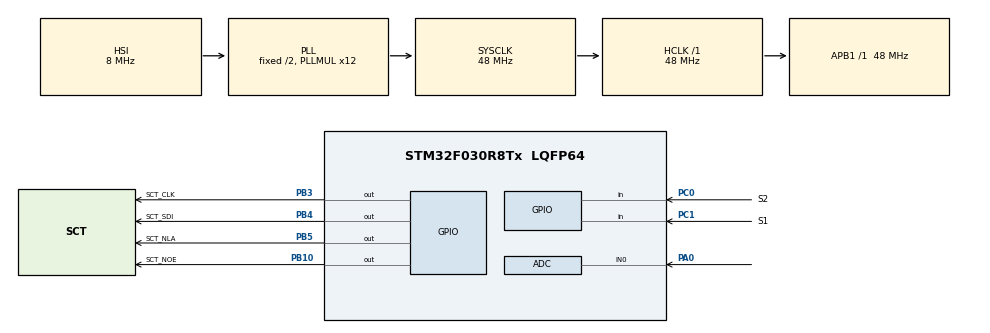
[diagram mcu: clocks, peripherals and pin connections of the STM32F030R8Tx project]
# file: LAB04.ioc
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ADC.ContinuousConvMode=ENABLE
ADC.Overrun=ADC_OVR_DATA_OVERWRITTEN
ADC.SamplingTime=ADC_SAMPLETIME_239CYCLES_5
Mcu.Family=STM32F0
Mcu.Name=STM32F030R8Tx
Mcu.Package=LQFP64
NVIC.ADC1_IRQn=true\:0\:0\:false\:false\:true\:true\:true\:true
PA0.Mode=IN0
PA0.Signal=ADC_IN0
PB10.GPIO_Label=SCT_NOE
PB10.Signal=GPIO_Output
PB3.GPIO_Label=SCT_CLK
PB3.Signal=GPIO_Output
PB4.GPIO_Label=SCT_SDI
PB4.Signal=GPIO_Output
PB5.GPIO_Label=SCT_NLA
PB5.Signal=GPIO_Output
PC0.GPIO_Label=S2
PC0.GPIO_PuPd=GPIO_PULLUP
PC0.Signal=GPIO_Input
PC1.GPIO_Label=S1
PC1.GPIO_PuPd=GPIO_PULLUP
PC1.Signal=GPIO_Input
ProjectManager.HeapSize=0x200
ProjectManager.StackSize=0x400
ProjectManager.TargetToolchain=STM32CubeIDE
RCC.AHBFreq_Value=48000000
RCC.APB1Freq_Value=48000000
RCC.APB1TimFreq_Value=48000000
RCC.HCLKFreq_Value=48000000
RCC.PLLMUL=RCC_PLL_MUL12
RCC.SYSCLKFreq_VALUE=48000000
RCC.SYSCLKSource=RCC_SYSCLKSOURCE_PLLCLK
VP_ADC_TempSens_Input.Mode=IN-TempSens
VP_ADC_Vref_Input.Mode=IN-Vrefint
board=custom

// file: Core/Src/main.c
/* USER CODE BEGIN Header */
/**
 ******************************************************************************
 * @file           : main.c
 * @brief          : Main program body
 ******************************************************************************
 * @attention
 *
 * Copyright (c) 2025 STMicroelectronics.
 * All rights reserved.
 *
 * This software is licensed under terms that can be found in the LICENSE file
 * in the root directory of this software component.
 * If no LICENSE file comes with this software, it is provided AS-IS.
 *
 ******************************************************************************
 */
/* USER CODE END Header */
#include "main.h"

/* USER CODE BEGIN Includes */
#include "sct.h"
/* USER CODE END Includes */

/* USER CODE BEGIN PD */
#define ADC_Q 12

/* Temperature sensor calibration value address */
#define TEMP110_CAL_ADDR ((uint16_t*) ((uint32_t) 0x1FFFF7C2))
#define TEMP30_CAL_ADDR  ((uint16_t*) ((uint32_t) 0x1FFFF7B8))

/* Internal voltage reference calibration value address */
#define VREFINT_CAL_ADDR ((uint16_t*) ((uint32_t) 0x1FFFF7BA))

#define SWITCH_DELAY 1000	// in ms

/* USER CODE END PD */

ADC_HandleTypeDef hadc;

/* USER CODE BEGIN PV */
static volatile uint32_t raw_pot, raw_temp, raw_volt;
static enum { SHOW_POT, SHOW_VOLT, SHOW_TEMP } state = SHOW_POT;
/* USER CODE END PV */

void SystemClock_Config(void);
static void MX_GPIO_Init(void);
static void MX_ADC_Init(void);

/* USER CODE BEGIN 0 */

void button(void) {
	static uint32_t lastTime;

	if (!HAL_GPIO_ReadPin(S1_GPIO_Port, S1_Pin)) {
		state = SHOW_VOLT;
		lastTime = HAL_GetTick();
	}

	if (!HAL_GPIO_ReadPin(S2_GPIO_Port, S2_Pin)) {
		state = SHOW_TEMP;
		lastTime = HAL_GetTick();
	}

	if ((lastTime + SWITCH_DELAY) < HAL_GetTick()) {
		state = SHOW_POT;
	}

}

/* USER CODE END 0 */

int main(void) {

	/* MCU Configuration--------------------------------------------------------*/

	/* Reset of all peripherals, Initializes the Flash interface and the Systick. */
	HAL_Init();

	/* Configure the system clock */
	SystemClock_Config();

	/* Initialize all configured peripherals */
	MX_GPIO_Init();
	MX_ADC_Init();
	/* USER CODE BEGIN 2 */
	sct_init();

	HAL_ADCEx_Calibration_Start(&hadc);
	HAL_ADC_Start_IT(&hadc);
	/* USER CODE END 2 */

	/* Infinite loop */
	while (1) {

		/* USER CODE BEGIN 3 */

		button();

		switch (state) {
		case SHOW_POT:
			sct_value((raw_pot * 501) / 4096, (raw_pot * 9) / 4096); // Get and show value from encoder on display
			HAL_Delay(50);
			break;

		case SHOW_TEMP:
			int32_t temperature = (raw_temp - (int32_t) (*TEMP30_CAL_ADDR));
			temperature = temperature * (int32_t) (110 - 30);
			temperature = temperature
					/ (int32_t) (*TEMP110_CAL_ADDR - *TEMP30_CAL_ADDR);
			temperature = temperature + 30;

			sct_value(temperature, (raw_pot * 9) / 4096);
			HAL_Delay(50);
			break;

		case SHOW_VOLT:
			uint32_t voltage = 330 * (*VREFINT_CAL_ADDR) / raw_volt;

			sct_value(voltage, (raw_pot * 9) / 4096);
			HAL_Delay(50);
			break;
		}
	}
	/* USER CODE END 3 */
}

void SystemClock_Config(void) {
	RCC_OscInitTypeDef RCC_OscInitStruct = { 0 };
	RCC_ClkInitTypeDef RCC_ClkInitStruct = { 0 };

	/** Initializes the RCC Oscillators according to the specified parameters
	 * in the RCC_OscInitTypeDef structure.
	 */
	RCC_OscInitStruct.OscillatorType = RCC_OSCILLATORTYPE_HSI
			| RCC_OSCILLATORTYPE_HSI14;
	RCC_OscInitStruct.HSIState = RCC_HSI_ON;
	RCC_OscInitStruct.HSI14State = RCC_HSI14_ON;
	RCC_OscInitStruct.HSICalibrationValue = RCC_HSICALIBRATION_DEFAULT;
	RCC_OscInitStruct.HSI14CalibrationValue = 16;
	RCC_OscInitStruct.PLL.PLLState = RCC_PLL_ON;
	RCC_OscInitStruct.PLL.PLLSource = RCC_PLLSOURCE_HSI;
	RCC_OscInitStruct.PLL.PLLMUL = RCC_PLL_MUL12;
	RCC_OscInitStruct.PLL.PREDIV = RCC_PREDIV_DIV1;
	if (HAL_RCC_OscConfig(&RCC_OscInitStruct) != HAL_OK) {
		Error_Handler();
	}

	/** Initializes the CPU, AHB and APB buses clocks
	 */
	RCC_ClkInitStruct.ClockType = RCC_CLOCKTYPE_HCLK | RCC_CLOCKTYPE_SYSCLK
			| RCC_CLOCKTYPE_PCLK1;
	RCC_ClkInitStruct.SYSCLKSource = RCC_SYSCLKSOURCE_PLLCLK;
	RCC_ClkInitStruct.AHBCLKDivider = RCC_SYSCLK_DIV1;
	RCC_ClkInitStruct.APB1CLKDivider = RCC_HCLK_DIV1;

	if (HAL_RCC_ClockConfig(&RCC_ClkInitStruct, FLASH_LATENCY_1) != HAL_OK) {
		Error_Handler();
	}
}

static void MX_ADC_Init(void) {

	ADC_ChannelConfTypeDef sConfig = { 0 };

	/** Configure the global features of the ADC (Clock, Resolution, Data Alignment and number of conversion)
	 */
	hadc.Instance = ADC1;
	hadc.Init.ClockPrescaler = ADC_CLOCK_ASYNC_DIV1;
	hadc.Init.Resolution = ADC_RESOLUTION_12B;
	hadc.Init.DataAlign = ADC_DATAALIGN_RIGHT;
	hadc.Init.ScanConvMode = ADC_SCAN_DIRECTION_FORWARD;
	hadc.Init.EOCSelection = ADC_EOC_SINGLE_CONV;
	hadc.Init.LowPowerAutoWait = DISABLE;
	hadc.Init.LowPowerAutoPowerOff = DISABLE;
	hadc.Init.ContinuousConvMode = ENABLE;
	hadc.Init.DiscontinuousConvMode = DISABLE;
	hadc.Init.ExternalTrigConv = ADC_SOFTWARE_START;
	hadc.Init.ExternalTrigConvEdge = ADC_EXTERNALTRIGCONVEDGE_NONE;
	hadc.Init.DMAContinuousRequests = DISABLE;
	hadc.Init.Overrun = ADC_OVR_DATA_OVERWRITTEN;
	if (HAL_ADC_Init(&hadc) != HAL_OK) {
		Error_Handler();
	}

	/** Configure for the selected ADC regular channel to be converted.
	 */
	sConfig.Channel = ADC_CHANNEL_0;
	sConfig.Rank = ADC_RANK_CHANNEL_NUMBER;
	sConfig.SamplingTime = ADC_SAMPLETIME_239CYCLES_5;
	if (HAL_ADC_ConfigChannel(&hadc, &sConfig) != HAL_OK) {
		Error_Handler();
	}

	/** Configure for the selected ADC regular channel to be converted.
	 */
	sConfig.Channel = ADC_CHANNEL_TEMPSENSOR;
	if (HAL_ADC_ConfigChannel(&hadc, &sConfig) != HAL_OK) {
		Error_Handler();
	}

	/** Configure for the selected ADC regular channel to be converted.
	 */
	sConfig.Channel = ADC_CHANNEL_VREFINT;
	if (HAL_ADC_ConfigChannel(&hadc, &sConfig) != HAL_OK) {
		Error_Handler();
	}

}

static void MX_GPIO_Init(void) {
	GPIO_InitTypeDef GPIO_InitStruct = { 0 };

	/* GPIO Ports Clock Enable */
	__HAL_RCC_GPIOC_CLK_ENABLE();
	__HAL_RCC_GPIOA_CLK_ENABLE();
	__HAL_RCC_GPIOB_CLK_ENABLE();

	/*Configure GPIO pin Output Level */
	HAL_GPIO_WritePin(GPIOB,
			SCT_NOE_Pin | SCT_CLK_Pin | SCT_SDI_Pin | SCT_NLA_Pin,
			GPIO_PIN_RESET);

	/*Configure GPIO pins : S2_Pin S1_Pin */
	GPIO_InitStruct.Pin = S2_Pin | S1_Pin;
	GPIO_InitStruct.Mode = GPIO_MODE_INPUT;
	GPIO_InitStruct.Pull = GPIO_PULLUP;
	HAL_GPIO_Init(GPIOC, &GPIO_InitStruct);

	/*Configure GPIO pins : SCT_NOE_Pin SCT_CLK_Pin SCT_SDI_Pin SCT_NLA_Pin */
	GPIO_InitStruct.Pin = SCT_NOE_Pin | SCT_CLK_Pin | SCT_SDI_Pin | SCT_NLA_Pin;
	GPIO_InitStruct.Mode = GPIO_MODE_OUTPUT_PP;
	GPIO_InitStruct.Pull = GPIO_NOPULL;
	GPIO_InitStruct.Speed = GPIO_SPEED_FREQ_LOW;
	HAL_GPIO_Init(GPIOB, &GPIO_InitStruct);

}

/* USER CODE BEGIN 4 */
void HAL_ADC_ConvCpltCallback(ADC_HandleTypeDef *hadc) {
	static uint32_t avg_pot;
	static uint32_t channel = 0;

	switch (channel) {
		case 0:
			raw_pot = avg_pot >> ADC_Q;
			avg_pot -= raw_pot;
			avg_pot += HAL_ADC_GetValue(hadc);
			break;
		case 1:
			raw_temp = HAL_ADC_GetValue(hadc);
			break;
		case 2:
			raw_volt = HAL_ADC_GetValue(hadc);
			break;
	}

	if (__HAL_ADC_GET_FLAG(hadc, ADC_FLAG_EOS)) channel = 0;
	else channel++;
}
/* USER CODE END 4 */

void Error_Handler(void) {
	__disable_irq();
	while (1) {
	}
}
